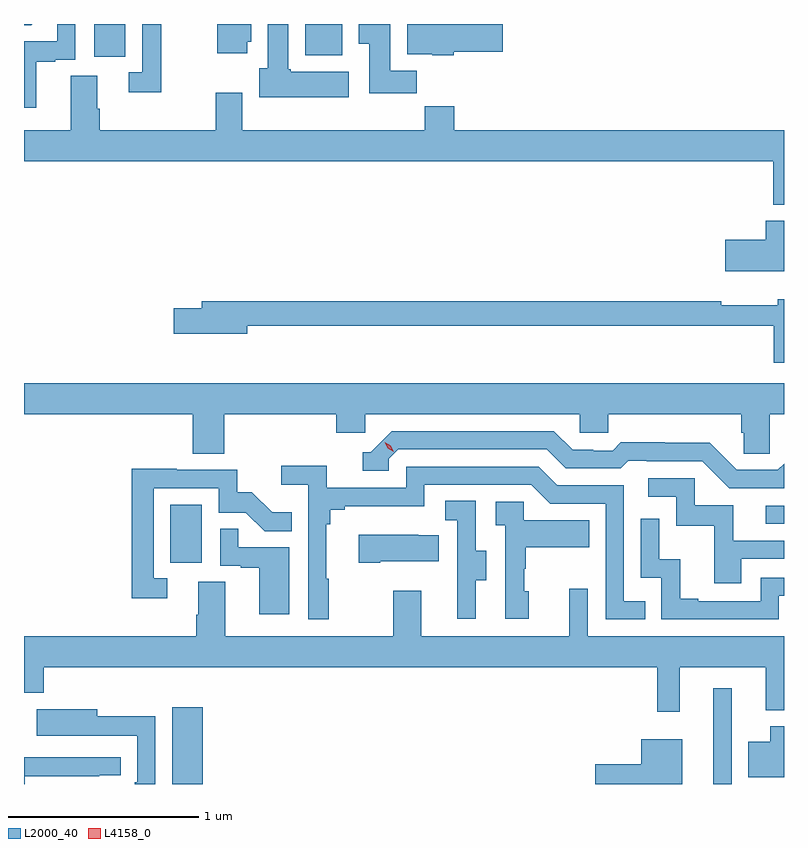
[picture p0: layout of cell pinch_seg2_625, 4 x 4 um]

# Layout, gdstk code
import gdstk
lib = gdstk.Library(unit=1e-6, precision=1e-09)
def R(c, l, rs):  # rectangles x0, y0, x1, y1
    for r in rs: c.add(gdstk.rectangle(r[:2], r[2:], *l))
def P(c, l, *ps):  # polygons
    for p in ps: c.add(gdstk.Polygon(p, *l))
L2000_40 = (2000, 40)
L4158_0 = (4158, 0)

pinch_seg2_625 = lib.new_cell('pinch_seg2_625')
R(pinch_seg2_625, L2000_40, [(1071.533,595.074,1071.694,595.477), (1074.38,595.074,1074.477,595.579), (1071.524,596.238,1071.688,596.545), (1074.657,596.445,1074.753,596.538), (1071.122,598.902,1071.286,599.074), (1072.233,598.91,1072.429,599.074)])
P(pinch_seg2_625, L2000_40, [(1072.82,598.828),(1072.681,598.828),(1072.681,599.074),(1072.514,599.074),(1072.514,598.969),(1072.571,598.969),(1072.571,598.71),(1072.82,598.71)],
  [(1072.462,598.822),(1072.158,598.822),(1072.158,598.836),(1072.144,598.836),(1072.144,599.074),(1072.037,599.074),(1072.037,598.842),(1071.992,598.842),(1071.992,598.688),(1072.462,598.688)],
  [(1071.476,599.074),(1071.375,599.074),(1071.375,598.821),(1071.303,598.821),(1071.303,598.716),(1071.476,598.716)],
  [(1070.797,599.074),(1070.753,599.074),(1070.753,599.068),(1070.791,599.068)],
  [(1071.928,598.98),(1071.949,598.98),(1071.949,599.074),(1071.77,599.074),(1071.77,598.92),(1071.928,598.92)],
  [(1073.016,598.928),(1073.273,598.928),(1073.273,599.074),(1072.769,599.074),(1072.769,598.916),(1072.902,598.916),(1072.902,598.91),(1073.016,598.91)],
  [(1070.818,598.875),(1070.918,598.875),(1070.918,598.887),(1071.024,598.887),(1071.024,599.074),(1070.929,599.074),(1070.929,598.983),(1070.753,598.983),(1070.753,598.632),(1070.818,598.632)],
  [(1074.753,598.516),(1073.018,598.516),(1073.018,598.64),(1072.861,598.64),(1072.861,598.516),(1071.901,598.516),(1071.901,598.711),(1071.761,598.711),(1071.761,598.516),(1071.152,598.516),(1071.152,598.628),(1071.139,598.628),(1071.139,598.802),(1070.999,598.802),(1070.999,598.516),(1070.753,598.516),(1070.753,598.352),(1074.697,598.352),(1074.697,598.124),(1074.753,598.124)],
  [(1074.753,598.039),(1074.656,598.039),(1074.656,597.939),(1074.444,597.939),(1074.444,597.773),(1074.753,597.773)],
  [(1074.753,597.625),(1074.719,597.625),(1074.719,597.595),(1074.423,597.595),(1074.423,597.614),(1071.689,597.614),(1071.689,597.578),(1071.54,597.578),(1071.54,597.443),(1071.928,597.443),(1071.928,597.486),(1074.7,597.486),(1074.7,597.291),(1074.753,597.291)],
  [(1070.753,597.02),(1071.641,597.02),(1071.641,596.812),(1071.806,596.812),(1071.806,597.02),(1072.397,597.02),(1072.397,596.922),(1072.548,596.922),(1072.548,597.02),(1073.679,597.02),(1073.679,596.922),(1073.829,596.922),(1073.829,597.02),(1074.527,597.02),(1074.527,596.922),(1074.541,596.922),(1074.541,596.812),(1074.678,596.812),(1074.678,597.02),(1074.753,597.02),(1074.753,597.184),(1070.753,597.184)],
  [(1074.753,596.76),(1074.72,596.727),(1074.504,596.727),(1074.362,596.869),(1074.126,596.869),(1074.126,596.872),(1073.893,596.872),(1073.851,596.829),(1073.748,596.829),(1073.748,596.832),(1073.641,596.832),(1073.542,596.931),(1072.689,596.931),(1072.578,596.82),(1072.535,596.82),(1072.535,596.724),(1072.674,596.724),(1072.674,596.787),(1072.722,596.835),(1073.505,596.835),(1073.604,596.736),(1073.893,596.736),(1073.932,596.775),(1074.031,596.775),(1074.031,596.772),(1074.324,596.772),(1074.465,596.631),(1074.753,596.631)],
  [(1072.357,596.153),(1072.345,596.153),(1072.345,596.441),(1072.364,596.441),(1072.364,596.518),(1072.441,596.518),(1072.441,596.537),(1072.86,596.537),(1072.86,596.649),(1073.424,596.649),(1073.523,596.55),(1073.814,596.55),(1073.814,595.941),(1074.023,595.941),(1074.023,596.037),(1073.91,596.037),(1073.91,596.646),(1073.56,596.646),(1073.461,596.745),(1072.764,596.745),(1072.764,596.634),(1072.346,596.634),(1072.346,596.75),(1072.107,596.75),(1072.107,596.648),(1072.248,596.648),(1072.248,595.941),(1072.357,595.941)],
  [(1071.508,596.157),(1071.435,596.157),(1071.435,596.631),(1071.777,596.631),(1071.777,596.502),(1071.921,596.502),(1072.019,596.404),(1072.163,596.404),(1072.163,596.503),(1072.059,596.503),(1071.952,596.61),(1071.876,596.61),(1071.876,596.727),(1071.557,596.727),(1071.557,596.732),(1071.319,596.732),(1071.319,596.052),(1071.508,596.052)],
  [(1074.529,596.259),(1074.753,596.259),(1074.753,596.355),(1074.487,596.355),(1074.487,596.541),(1074.282,596.541),(1074.282,596.682),(1074.039,596.682),(1074.039,596.586),(1074.186,596.586),(1074.186,596.433),(1074.385,596.433),(1074.385,596.13),(1074.529,596.13)],
  [(1073.131,596.146),(1073.185,596.146),(1073.185,596.301),(1073.13,596.301),(1073.13,596.564),(1072.971,596.564),(1072.971,596.461),(1073.034,596.461),(1073.034,596.157),(1073.033,596.157),(1073.033,595.944),(1073.131,595.944)],
  [(1073.41,596.088),(1073.385,596.088),(1073.385,596.207),(1073.395,596.207),(1073.395,596.321),(1073.729,596.321),(1073.729,596.461),(1073.382,596.461),(1073.382,596.559),(1073.235,596.559),(1073.235,596.435),(1073.286,596.435),(1073.286,595.944),(1073.41,595.944)],
  [(1074.726,596.064),(1074.753,596.064),(1074.753,596.16),(1074.63,596.16),(1074.63,596.037),(1074.301,596.037),(1074.301,596.05),(1074.206,596.05),(1074.206,596.258),(1074.096,596.258),(1074.096,596.47),(1074,596.47),(1074,596.16),(1074.108,596.16),(1074.108,595.941),(1074.726,595.941)],
  [(1072.15,596.319),(1071.881,596.319),(1071.881,596.417),(1071.786,596.417),(1071.786,596.223),(1071.893,596.223),(1071.893,596.211),(1071.992,596.211),(1071.992,595.968),(1072.15,595.968)],
  [(1072.627,596.246),(1072.937,596.246),(1072.937,596.383),(1072.829,596.383),(1072.829,596.386),(1072.515,596.386),(1072.515,596.239),(1072.627,596.239)],
  [(1074.203,595.688),(1074.656,595.688),(1074.656,595.463),(1074.753,595.463),(1074.753,595.852),(1073.721,595.852),(1073.721,596.101),(1073.624,596.101),(1073.624,595.852),(1072.843,595.852),(1072.843,596.092),(1072.696,596.092),(1072.696,595.852),(1071.811,595.852),(1071.811,596.138),(1071.671,596.138),(1071.671,595.964),(1071.659,595.964),(1071.659,595.852),(1070.753,595.852),(1070.753,595.553),(1070.858,595.553),(1070.858,595.688),(1074.085,595.688),(1074.085,595.455),(1074.203,595.455)],
  [(1071.444,595.43),(1071.139,595.43),(1071.139,595.468),(1070.821,595.468),(1070.821,595.328),(1071.035,595.328),(1071.035,595.329),(1071.348,595.329),(1071.348,595.084),(1071.335,595.084),(1071.335,595.074),(1071.444,595.074)],
  [(1074.753,595.378),(1074.68,595.378),(1074.68,595.297),(1074.566,595.297),(1074.566,595.109),(1074.753,595.109)],
  [(1074.217,595.309),(1074.002,595.309),(1074.002,595.178),(1073.76,595.178),(1073.76,595.074),(1074.217,595.074)],
  [(1070.756,595.114),(1071.149,595.114),(1071.149,595.119),(1071.262,595.119),(1071.262,595.215),(1070.753,595.215),(1070.753,595.074),(1070.756,595.074)])
P(pinch_seg2_625, L4158_0, [(1072.699,596.822),(1072.668,596.841),(1072.652,596.874),(1072.652,596.874),(1072.652,596.874),(1072.683,596.855),(1072.699,596.822),(1072.699,596.822)])

lib.write_gds('pinch_seg2_625.gds')
